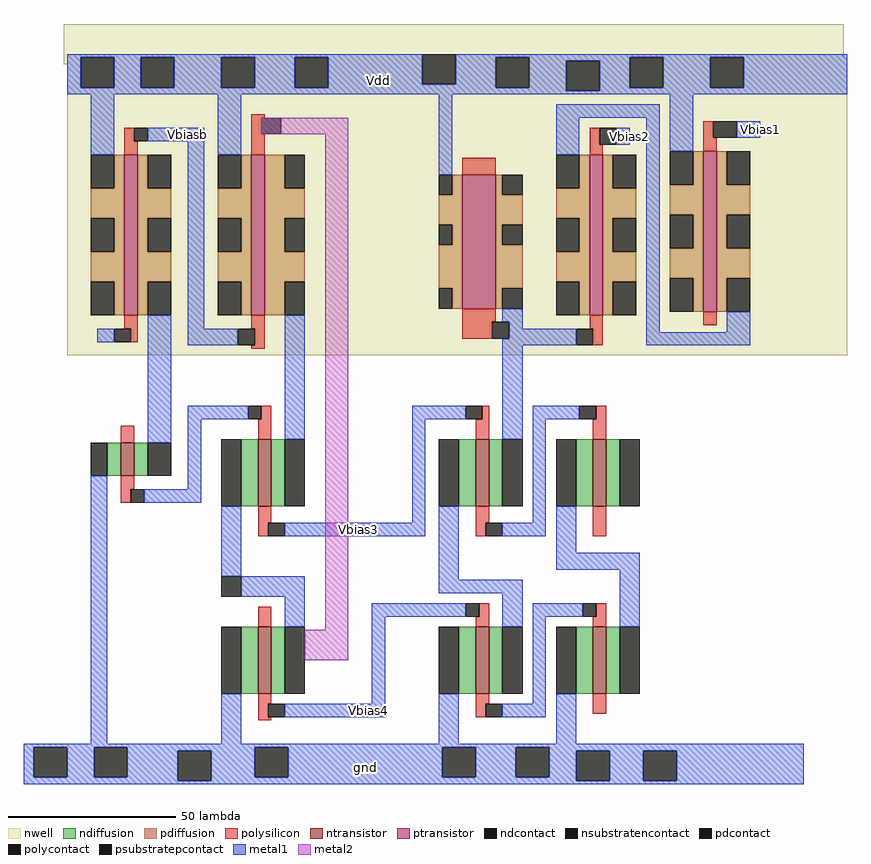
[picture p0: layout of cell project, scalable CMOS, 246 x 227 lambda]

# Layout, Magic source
magic
tech scmos
<< nwell >>
rect -74 54 159 64
rect -74 52 160 54
rect -73 -35 160 52
<< ntransistor >>
rect -57 -71 -53 -61
rect -16 -80 -12 -60
rect 49 -80 53 -60
rect 84 -80 88 -60
rect -16 -136 -12 -116
rect 49 -136 53 -116
rect 84 -136 88 -116
<< ptransistor >>
rect -56 -23 -52 25
rect -18 -23 -14 25
rect 45 -21 55 19
rect 83 -23 87 25
rect 117 -22 121 26
<< ndiffusion >>
rect -61 -71 -57 -61
rect -53 -71 -49 -61
rect -21 -80 -16 -60
rect -12 -80 -8 -60
rect 44 -80 49 -60
rect 53 -80 57 -60
rect 79 -80 84 -60
rect 88 -80 92 -60
rect -21 -136 -16 -116
rect -12 -136 -8 -116
rect 44 -136 49 -116
rect 53 -136 57 -116
rect 79 -136 84 -116
rect 88 -136 92 -116
<< pdiffusion >>
rect -59 15 -56 25
rect -66 6 -56 15
rect -59 -4 -56 6
rect -66 -13 -56 -4
rect -59 -23 -56 -13
rect -52 15 -49 25
rect -52 6 -42 15
rect -52 -4 -49 6
rect -52 -13 -42 -4
rect -52 -23 -49 -13
rect -21 15 -18 25
rect -28 6 -18 15
rect -21 -4 -18 6
rect -28 -13 -18 -4
rect -21 -23 -18 -13
rect -14 15 -8 25
rect -14 6 -2 15
rect -14 -4 -8 6
rect -14 -13 -2 -4
rect -14 -23 -8 -13
rect 42 13 45 19
rect 38 4 45 13
rect 42 -2 45 4
rect 38 -15 45 -2
rect 42 -21 45 -15
rect 55 13 57 19
rect 55 4 63 13
rect 55 -2 57 4
rect 55 -15 63 -2
rect 55 -21 57 -15
rect 80 15 83 25
rect 73 6 83 15
rect 80 -4 83 6
rect 73 -13 83 -4
rect 80 -23 83 -13
rect 87 15 90 25
rect 87 6 97 15
rect 87 -4 90 6
rect 87 -13 97 -4
rect 87 -23 90 -13
rect 114 16 117 26
rect 107 7 117 16
rect 114 -3 117 7
rect 107 -12 117 -3
rect 114 -22 117 -12
rect 121 16 124 26
rect 121 7 131 16
rect 121 -3 124 7
rect 121 -12 131 -3
rect 121 -22 124 -12
<< ndcontact >>
rect -66 -71 -61 -61
rect -49 -71 -42 -61
rect -27 -80 -21 -60
rect -8 -80 -2 -60
rect 38 -80 44 -60
rect 57 -80 63 -60
rect 73 -80 79 -60
rect 92 -80 98 -60
rect -27 -136 -21 -116
rect -8 -136 -2 -116
rect 38 -136 44 -116
rect 57 -136 63 -116
rect 73 -136 79 -116
rect 92 -136 98 -116
<< pdcontact >>
rect -66 15 -59 25
rect -66 -4 -59 6
rect -66 -23 -59 -13
rect -49 15 -42 25
rect -49 -4 -42 6
rect -49 -23 -42 -13
rect -28 15 -21 25
rect -28 -4 -21 6
rect -28 -23 -21 -13
rect -8 15 -2 25
rect -8 -4 -2 6
rect -8 -23 -2 -13
rect 38 13 42 19
rect 38 -2 42 4
rect 38 -21 42 -15
rect 57 13 63 19
rect 57 -2 63 4
rect 57 -21 63 -15
rect 73 15 80 25
rect 73 -4 80 6
rect 73 -23 80 -13
rect 90 15 97 25
rect 90 -4 97 6
rect 90 -23 97 -13
rect 107 16 114 26
rect 107 -3 114 7
rect 107 -22 114 -12
rect 124 16 131 26
rect 124 -3 131 7
rect 124 -22 131 -12
<< psubstratepcontact >>
rect -27 -107 -21 -101
rect -83 -161 -73 -152
rect -65 -161 -55 -152
rect -40 -162 -30 -153
rect -17 -161 -7 -152
rect 39 -161 49 -152
rect 61 -161 71 -152
rect 79 -162 89 -153
rect 99 -162 109 -153
<< nsubstratencontact >>
rect -69 45 -59 54
rect -51 45 -41 54
rect -27 45 -17 54
rect -5 45 5 54
rect 33 46 43 55
rect 55 45 65 54
rect 76 44 86 53
rect 95 45 105 54
rect 119 45 129 54
<< polysilicon >>
rect -18 36 -14 37
rect -56 29 -53 33
rect -18 31 -15 36
rect -56 25 -52 29
rect -18 25 -14 31
rect 83 28 86 33
rect 117 30 120 35
rect 83 25 87 28
rect 117 26 121 30
rect 45 19 55 24
rect -56 -27 -52 -23
rect -18 -27 -14 -23
rect -54 -31 -52 -27
rect -17 -32 -14 -27
rect 45 -25 55 -21
rect 45 -30 54 -25
rect 83 -27 87 -23
rect 117 -26 121 -22
rect 84 -32 87 -27
rect -18 -33 -14 -32
rect -15 -54 -12 -50
rect 51 -54 53 -50
rect 85 -54 88 -50
rect -57 -61 -53 -56
rect -16 -60 -12 -54
rect 49 -60 53 -54
rect 84 -60 88 -54
rect -57 -75 -53 -71
rect -57 -79 -54 -75
rect -16 -85 -12 -80
rect 49 -85 53 -80
rect -16 -89 -13 -85
rect 49 -89 52 -85
rect 84 -89 88 -80
rect -16 -116 -12 -110
rect 50 -113 53 -109
rect 85 -113 88 -109
rect 49 -116 53 -113
rect 84 -116 88 -113
rect -16 -139 -12 -136
rect 49 -139 53 -136
rect -16 -143 -13 -139
rect 49 -143 52 -139
rect 84 -142 88 -136
rect -16 -144 -12 -143
<< polycontact >>
rect -53 29 -49 33
rect -15 31 -9 36
rect 86 28 91 33
rect 120 30 127 35
rect -59 -31 -54 -27
rect -22 -32 -17 -27
rect 54 -30 59 -25
rect 79 -32 84 -27
rect -19 -54 -15 -50
rect 46 -54 51 -50
rect 80 -54 85 -50
rect -54 -79 -50 -75
rect -13 -89 -8 -85
rect 52 -89 57 -85
rect 46 -113 50 -109
rect 81 -113 85 -109
rect -13 -143 -8 -139
rect 52 -143 57 -139
<< metal1 >>
rect -73 54 33 55
rect -73 45 -69 54
rect -59 45 -51 54
rect -41 45 -27 54
rect -17 45 -5 54
rect 5 46 33 54
rect 43 54 160 55
rect 43 46 55 54
rect 5 45 55 46
rect 65 53 95 54
rect 65 45 76 53
rect -73 44 76 45
rect 86 45 95 53
rect 105 45 119 54
rect 129 45 160 54
rect 86 44 160 45
rect -73 43 160 44
rect -66 25 -59 43
rect -49 29 -32 33
rect -64 -31 -59 -27
rect -49 -61 -42 -23
rect -37 -27 -32 29
rect -28 25 -21 43
rect 38 19 42 43
rect 73 36 104 40
rect 73 25 80 36
rect 91 28 95 33
rect -37 -32 -22 -27
rect -37 -54 -19 -50
rect -66 -151 -61 -71
rect -37 -75 -33 -54
rect -8 -60 -2 -23
rect 57 -25 63 -21
rect 59 -27 63 -25
rect 59 -30 79 -27
rect 57 -32 79 -30
rect 100 -28 104 36
rect 107 26 114 43
rect 127 30 134 35
rect 124 -28 131 -22
rect 100 -32 131 -28
rect -50 -79 -33 -75
rect 30 -54 46 -50
rect -27 -101 -21 -80
rect 30 -85 34 -54
rect 57 -60 63 -32
rect -8 -89 34 -85
rect 66 -54 80 -50
rect -21 -107 -2 -101
rect 38 -102 44 -80
rect 66 -85 70 -54
rect 57 -89 70 -85
rect 73 -94 79 -80
rect 73 -99 98 -94
rect 38 -106 63 -102
rect -8 -116 -2 -107
rect 18 -113 46 -109
rect -27 -151 -21 -136
rect 18 -139 22 -113
rect 57 -116 63 -106
rect -8 -143 22 -139
rect 66 -113 81 -109
rect 38 -151 44 -136
rect 66 -139 70 -113
rect 92 -116 98 -99
rect 57 -143 70 -139
rect 73 -151 79 -136
rect -86 -152 147 -151
rect -86 -161 -83 -152
rect -73 -161 -65 -152
rect -55 -153 -17 -152
rect -55 -161 -40 -153
rect -86 -162 -40 -161
rect -30 -161 -17 -153
rect -7 -161 39 -152
rect 49 -161 61 -152
rect 71 -153 147 -152
rect 71 -161 79 -153
rect -30 -162 79 -161
rect 89 -162 99 -153
rect 109 -162 147 -153
rect -86 -163 147 -162
<< metal2 >>
rect -15 31 11 36
rect 4 -117 11 31
rect -2 -126 11 -117
<< labels >>
rlabel metal1 20 47 20 47 1 Vdd
rlabel metal1 16 -158 16 -158 1 gnd
rlabel metal1 -37 29 -37 33 1 Vbiasb
rlabel metal1 14 -89 14 -85 1 Vbias3
rlabel metal1 17 -143 17 -139 1 Vbias4
rlabel metal1 134 30 134 35 1 Vbias1
rlabel metal1 95 28 95 33 1 Vbias2
<< end >>
